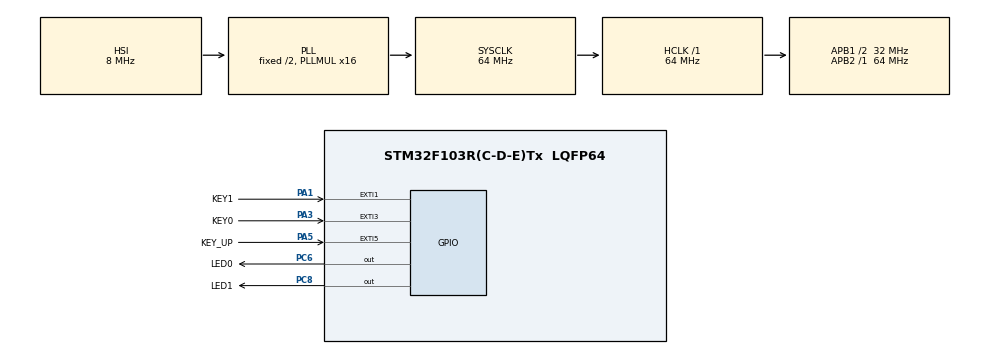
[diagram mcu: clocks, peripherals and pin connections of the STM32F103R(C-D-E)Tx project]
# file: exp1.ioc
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Mcu.Family=STM32F1
Mcu.Name=STM32F103R(C-D-E)Tx
Mcu.Package=LQFP64
NVIC.EXTI1_IRQn=true\:0\:0\:false\:false\:true\:true\:true\:true
NVIC.EXTI3_IRQn=true\:0\:0\:false\:false\:true\:true\:true\:true
NVIC.EXTI9_5_IRQn=true\:0\:0\:false\:false\:true\:true\:true\:true
NVIC.PriorityGroup=NVIC_PRIORITYGROUP_4
PA1.GPIO_Label=KEY1
PA1.GPIO_ModeDefaultEXTI=GPIO_MODE_IT_FALLING
PA1.GPIO_PuPd=GPIO_PULLUP
PA1.Signal=GPXTI1
PA13.Mode=Serial_Wire
PA13.Signal=SYS_JTMS-SWDIO
PA14.Mode=Serial_Wire
PA14.Signal=SYS_JTCK-SWCLK
PA3.GPIO_Label=KEY0
PA3.GPIO_ModeDefaultEXTI=GPIO_MODE_IT_FALLING
PA3.GPIO_PuPd=GPIO_PULLUP
PA3.Signal=GPXTI3
PA5.GPIO_Label=KEY_UP
PA5.GPIO_ModeDefaultEXTI=GPIO_MODE_IT_RISING
PA5.GPIO_PuPd=GPIO_PULLDOWN
PA5.Signal=GPXTI5
PC6.GPIO_Label=LED0
PC6.GPIO_PuPd=GPIO_NOPULL
PC6.GPIO_Speed=GPIO_SPEED_FREQ_HIGH
PC6.PinState=GPIO_PIN_SET
PC6.Signal=GPIO_Output
PC8.GPIO_Label=LED1
PC8.GPIO_Speed=GPIO_SPEED_FREQ_HIGH
PC8.PinState=GPIO_PIN_SET
PC8.Signal=GPIO_Output
ProjectManager.HeapSize=0x200
ProjectManager.StackSize=0x400
ProjectManager.TargetToolchain=MDK-ARM V5.32
RCC.AHBFreq_Value=64000000
RCC.APB1CLKDivider=RCC_HCLK_DIV2
RCC.APB1Freq_Value=32000000
RCC.APB1TimFreq_Value=64000000
RCC.APB2Freq_Value=64000000
RCC.APB2TimFreq_Value=64000000
RCC.HCLKFreq_Value=64000000
RCC.PLLMUL=RCC_PLL_MUL16
RCC.SYSCLKFreq_VALUE=64000000
RCC.SYSCLKSource=RCC_SYSCLKSOURCE_PLLCLK
RCC.USBFreq_Value=64000000
board=custom

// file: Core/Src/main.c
/* USER CODE BEGIN Header */
/**
  ******************************************************************************
  * @file           : main.c
  * @brief          : Main program body
  ******************************************************************************
  * @attention
  *
  * Copyright (c) 2024 STMicroelectronics.
  * All rights reserved.
  *
  * This software is licensed under terms that can be found in the LICENSE file
  * in the root directory of this software component.
  * If no LICENSE file comes with this software, it is provided AS-IS.
  *
  ******************************************************************************
  */
/* USER CODE END Header */
#include "main.h"
#include "gpio.h"

void SystemClock_Config(void);

/* USER CODE BEGIN 0 */
void Delay(void) {
	uint32_t u = 1000000;
	while (u--);
}

void HAL_GPIO_EXTI_Callback(uint16_t GPIO_Pin)
{
  /* Prevent unused argument(s) compilation warning */
  UNUSED(GPIO_Pin);
  /* NOTE: This function Should not be modified, when the callback is needed,
           the HAL_GPIO_EXTI_Callback could be implemented in the user file
   */
	if (GPIO_Pin != KEY0_Pin) {
		Delay();
		if ((HAL_GPIO_ReadPin(KEY1_GPIO_Port, KEY1_Pin) == 0) ||
			HAL_GPIO_ReadPin(KEY_UP_GPIO_Port, KEY_UP_Pin) == 1)
				HAL_GPIO_TogglePin(LED0_GPIO_Port, LED0_Pin);
	}
	if (GPIO_Pin != KEY1_Pin) {
		Delay();
		if ((HAL_GPIO_ReadPin(KEY0_GPIO_Port, KEY0_Pin) == 0) ||
			HAL_GPIO_ReadPin(KEY_UP_GPIO_Port, KEY_UP_Pin) == 1)
				HAL_GPIO_TogglePin(LED1_GPIO_Port, LED1_Pin);
	}
}

/* USER CODE END 0 */

int main(void)
{

  /* MCU Configuration--------------------------------------------------------*/

  /* Reset of all peripherals, Initializes the Flash interface and the Systick. */
  HAL_Init();

  /* Configure the system clock */
  SystemClock_Config();

  /* Initialize all configured peripherals */
  MX_GPIO_Init();

  /* Infinite loop */
  while (1)
  {

  }
}

void SystemClock_Config(void)
{
  RCC_OscInitTypeDef RCC_OscInitStruct = {0};
  RCC_ClkInitTypeDef RCC_ClkInitStruct = {0};

  /** Initializes the RCC Oscillators according to the specified parameters
  * in the RCC_OscInitTypeDef structure.
  */
  RCC_OscInitStruct.OscillatorType = RCC_OSCILLATORTYPE_HSI;
  RCC_OscInitStruct.HSIState = RCC_HSI_ON;
  RCC_OscInitStruct.HSICalibrationValue = RCC_HSICALIBRATION_DEFAULT;
  RCC_OscInitStruct.PLL.PLLState = RCC_PLL_ON;
  RCC_OscInitStruct.PLL.PLLSource = RCC_PLLSOURCE_HSI_DIV2;
  RCC_OscInitStruct.PLL.PLLMUL = RCC_PLL_MUL16;
  if (HAL_RCC_OscConfig(&RCC_OscInitStruct) != HAL_OK)
  {
    Error_Handler();
  }

  /** Initializes the CPU, AHB and APB buses clocks
  */
  RCC_ClkInitStruct.ClockType = RCC_CLOCKTYPE_HCLK|RCC_CLOCKTYPE_SYSCLK
                              |RCC_CLOCKTYPE_PCLK1|RCC_CLOCKTYPE_PCLK2;
  RCC_ClkInitStruct.SYSCLKSource = RCC_SYSCLKSOURCE_PLLCLK;
  RCC_ClkInitStruct.AHBCLKDivider = RCC_SYSCLK_DIV1;
  RCC_ClkInitStruct.APB1CLKDivider = RCC_HCLK_DIV2;
  RCC_ClkInitStruct.APB2CLKDivider = RCC_HCLK_DIV1;

  if (HAL_RCC_ClockConfig(&RCC_ClkInitStruct, FLASH_LATENCY_2) != HAL_OK)
  {
    Error_Handler();
  }
}

void Error_Handler(void)
{
  __disable_irq();
  while (1)
  {
  }
}
